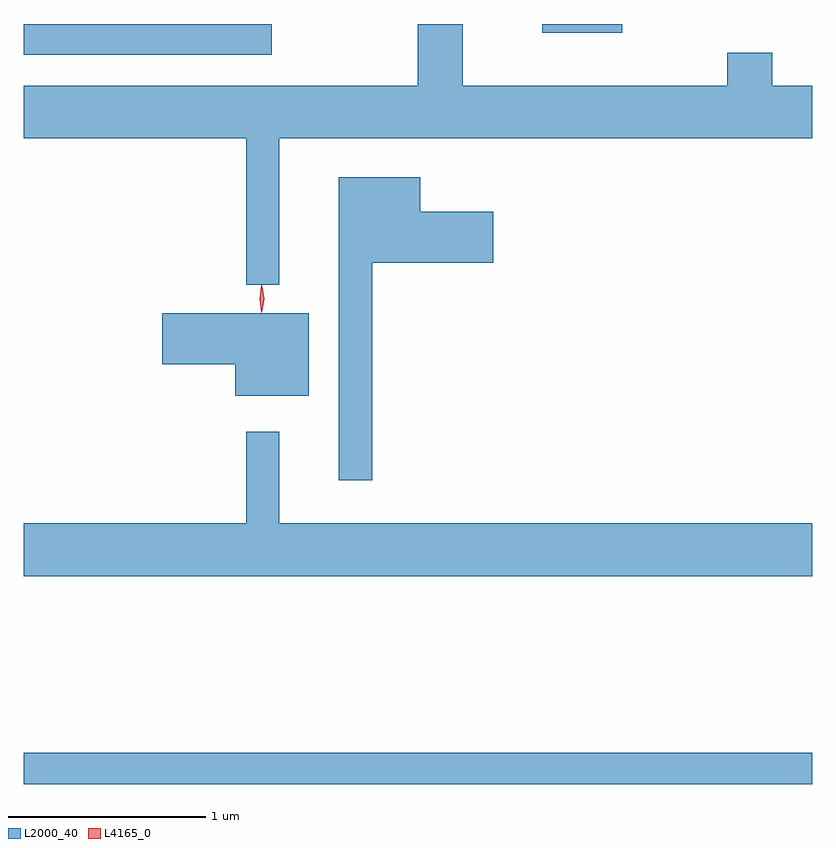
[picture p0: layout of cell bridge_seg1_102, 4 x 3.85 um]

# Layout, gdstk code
import gdstk
lib = gdstk.Library(unit=1e-6, precision=1e-09)
def R(c, l, rs):  # rectangles x0, y0, x1, y1
    for r in rs: c.add(gdstk.rectangle(r[:2], r[2:], *l))
def P(c, l, *ps):  # polygons
    for p in ps: c.add(gdstk.Polygon(p, *l))
L2000_40 = (2000, 40)
L4165_0 = (4165, 0)

bridge_seg1_102 = lib.new_cell('bridge_seg1_102')
R(bridge_seg1_102, L2000_40, [(1245.042,867.441,1249.042,867.599), (1245.042,871.141,1246.299,871.296), (1247.671,871.251,1248.078,871.296)])
P(bridge_seg1_102, L2000_40, [(1246.339,870.716),(1249.042,870.716),(1249.042,870.984),(1248.839,870.984),(1248.839,871.149),(1248.611,871.149),(1248.611,870.984),(1247.269,870.984),(1247.269,871.296),(1247.041,871.296),(1247.041,870.984),(1245.042,870.984),(1245.042,870.716),(1246.171,870.716),(1246.171,869.973),(1246.339,869.973)],
  [(1246.809,870.086),(1247.424,870.086),(1247.424,870.344),(1247.054,870.344),(1247.054,870.519),(1246.641,870.519),(1246.641,868.983),(1246.809,868.983)],
  [(1246.489,869.829),(1245.746,869.829),(1245.746,869.571),(1246.116,869.571),(1246.116,869.411),(1246.489,869.411)],
  [(1249.042,868.764),(1246.339,868.764),(1246.339,869.228),(1246.171,869.228),(1246.171,868.764),(1245.042,868.764),(1245.042,868.496),(1249.042,868.496)])
P(bridge_seg1_102, L4165_0, [(1246.248,869.834),(1246.239,869.902),(1246.248,869.97),(1246.249,869.97),(1246.25,869.97),(1246.259,869.902),(1246.25,869.834),(1246.249,869.834)],
  [(1246.252,869.84),(1246.252,869.84),(1246.242,869.903),(1246.252,869.966),(1246.252,869.967),(1246.252,869.966),(1246.262,869.903),(1246.252,869.84)])

lib.write_gds('bridge_seg1_102.gds')
